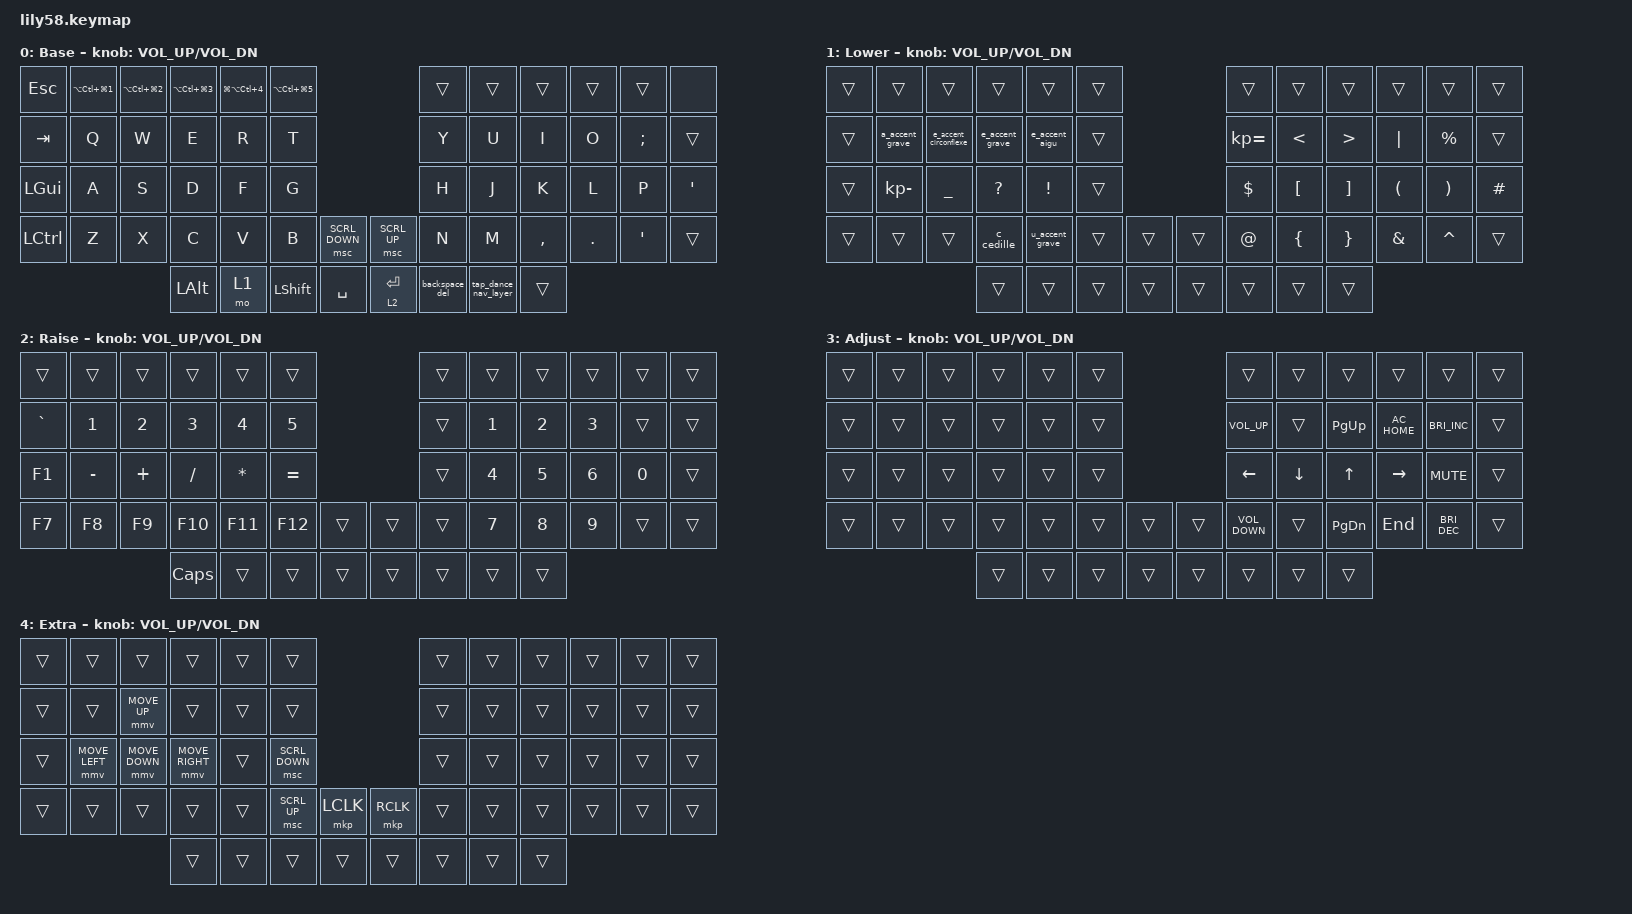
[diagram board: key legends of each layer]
/*
 * Copyright (c) 2020 The ZMK Contributors
 *
 * SPDX-License-Identifier: MIT
 */

#include <behaviors.dtsi>
#include <dt-bindings/zmk/keys.h>
#include <dt-bindings/zmk/pointing.h>

#define default_layer 0
#define lower_layer 1
#define raise_layer 2
#define adjust_layer 3
#define extra_layer 4

/ {
    macros {
        e_accent_aigu: new_macro {
            compatible = "zmk,behavior-macro";
            #binding-cells = <0>;
            bindings = <&kp RIGHT_GUI &kp SQT &kp E>;
            label = "NEW_MACRO";
        };

        e_accent_grave: e_accent_grave {
            compatible = "zmk,behavior-macro";
            #binding-cells = <0>;
            bindings = <&kp RIGHT_GUI &kp GRAVE &kp E>;
            label = "E_ACCENT_GRAVE";
        };

        e_accent_circonflexe: e_accent_circonflexe {
            compatible = "zmk,behavior-macro";
            #binding-cells = <0>;
            bindings = <&kp RIGHT_GUI &kp CARET &kp E>;
            label = "E_ACCENT_CIRCONFLEXE";
        };

        u_accent_grave: u_accent_grave {
            compatible = "zmk,behavior-macro";
            #binding-cells = <0>;
            bindings = <&kp RIGHT_GUI &kp GRAVE &kp U>;
            label = "U_ACCENT_GRAVE";
        };

        c_cedille: c_cedille {
            compatible = "zmk,behavior-macro";
            #binding-cells = <0>;
            bindings = <&kp RIGHT_GUI &kp COMMA &kp C>;
            label = "C_CEDILLE";
        };

        a_accent_grave: a_accent_grave {
            compatible = "zmk,behavior-macro";
            #binding-cells = <0>;
            bindings = <&kp RIGHT_GUI &kp GRAVE &kp A>;
            label = "A_ACCENT_GRAVE";
        };

        ctrl_tab: ctrl_tab {
            compatible = "zmk,behavior-macro";
            #binding-cells = <0>;
            bindings = <&kp LCTRL &kp TAB>;
            label = "CTRL_TAB";
        };

        ctrl_shift_tab: ctrl_shift_tab {
            compatible = "zmk,behavior-macro";
            #binding-cells = <0>;
            bindings = <&kp RCTRL &kp RIGHT_SHIFT &kp TAB>;
            label = "CTRL_SHIFT_TAB";
        };
    };

    behaviors {
        left_hold_tap: left_hold_tap {
            compatible = "zmk,behavior-hold-tap";
            label = "LEFT_HOLD_TAP";
            bindings = <&kp>, <&kp>;

            #binding-cells = <2>;
            flavor = "balanced";
            require-prior-idle-ms = <700>;
            tapping-term-ms = <280>;
            quick-tap-ms = <175>;
            hold-trigger-key-positions = <7 6 6 7 8 9 10 18 19 20 21 22 30 31 32 33 34 43 44 45 46 47 48 54 55 56 57 35 23 11 49>;
            hold-trigger-on-release;
        };

        right_hold_tap: right_hold_tap {
            compatible = "zmk,behavior-hold-tap";
            label = "RIGHT_HOLD_TAP";
            bindings = <&kp>, <&kp>;

            #binding-cells = <2>;
            flavor = "balanced";
            require-prior-idle-ms = <700>;
            tapping-term-ms = <280>;
            quick-tap-ms = <175>;
            hold-trigger-key-positions = <0 1 2 3 4 5 12 13 14 15 16 17 24 25 26 27 28 29 36 37 38 39 40 41 42 50 51 52 53>;
            hold-trigger-on-release;
        };

        tap_dance_nav_layer: tap_dance_nav_layer {
            compatible = "zmk,behavior-tap-dance";
            label = "TAP_DANCE_NAV_LAYER";
            #binding-cells = <0>;
            bindings = <&mo 3>, <&tog 3>;
        };

        jescape: jescape {
            compatible = "zmk,behavior-tap-dance";
            label = "JESCAPE";
            #binding-cells = <0>;
            bindings = <&kp J>, <&kp ESCAPE>;
        };

        backspace_del: backspace_del {
            compatible = "zmk,behavior-mod-morph";
            label = "BACKSPACE_DEL";
            bindings = <&kp BACKSPACE>, <&kp DELETE>;

            #binding-cells = <0>;
            mods = <(MOD_LSFT)>;
        };
    };

    combos {
        compatible = "zmk,combos";

        copy {
            bindings = <&kp K_COPY>;
            key-positions = <39 40>;
            require-prior-idle-ms = <400>;
        };

        paste {
            bindings = <&kp K_PASTE>;
            key-positions = <40 41>;
            require-prior-idle-ms = <400>;
        };

        cut {
            bindings = <&kp K_CUT>;
            key-positions = <41 39>;
            require-prior-idle-ms = <400>;
        };
    };

    keymap {
        compatible = "zmk,keymap";

        default_layer {
            display-name = "Base";

            // ------------------------------------------------------------------------------------------------------------
            // |  ESC  |  1  |  2  |  3   |  4   |  5   |                   |  6   |  7    |  8    |  9   |   0   |   `   |
            // |  TAB  |  Q  |  W  |  E   |  R   |  T   |                   |  Y   |  U    |  I    |  O   |   P   |   -   |
            // |  CTRL |  A  |  S  |  D   |  F   |  G   |                   |  H   |  J    |  K    |  L   |   ;   |   '   |
            // | SHIFT |  Z  |  X  |  C   |  V   |  B   |   "["  |  |  "]"  |  N   |  M    |  ,    |  .   |   /   | SHIFT |
            //                     | ALT  | GUI  | LOWER|  SPACE |  | ENTER | RAISE| BSPC  | GUI   |

            bindings = <
&kp ESCAPE    &kp LA(LC(LG(NUMBER_1)))  &kp LA(LC(LG(NUMBER_2)))  &kp LA(LC(LG(NUMBER_3)))  &kp LG(LA(LC(NUMBER_4)))  &kp LA(LC(LG(NUMBER_5)))                                  &trans          &trans                &trans     &trans   &trans            &none
&kp TAB       &kp Q                     &kp W                     &kp E                     &kp R                     &kp T                                                     &kp Y           &kp U                 &kp I      &kp O    &kp SEMICOLON     &trans
&kp LEFT_GUI  &kp A                     &kp S                     &kp D                     &kp F                     &kp G                                                     &kp H           &kp J                 &kp K      &kp L    &kp P             &kp APOS
&kp LCTRL     &kp Z                     &kp X                     &kp C                     &kp V                     &kp B                     &msc SCRL_DOWN    &msc SCRL_UP  &kp N           &kp M                 &kp COMMA  &kp DOT  &kp SINGLE_QUOTE  &trans
                                                                  &kp LEFT_ALT              &mo 1                     &kp LEFT_SHIFT            &kp SPACE         &lt 2 ENTER   &backspace_del  &tap_dance_nav_layer  &trans
            >;

            sensor-bindings = <&inc_dec_kp C_VOL_UP C_VOL_DN>;
        };

        sym {
            display-name = "Lower";

            // ------------------------------------------------------------------------------------------------------------
            // | BTCLR | BT1 | BT2 |  BT3 |  BT4 |  BT5 |                   |      |       |       |      |       |       |
            // |  F1   |  F2 |  F3 |  F4  |  F5  |  F6  |                   |  F7  |  F8   |  F9   |  F10 |  F11  |  F12  |
            // |   `   |  !  |  @  |  #   |  $   |  %   |                   |  ^   |  &    |  *    |  (   |   )   |   ~   |
            // |       |     |     |      |      |      |        |  |       |      |  _    |  +    |  {   |   }   |  "|"  |
            //                     |      |      |      |        |  |       |      |       |       |

            bindings = <
&trans  &trans           &trans                 &trans           &trans           &trans                    &trans        &trans            &trans             &trans    &trans       &trans
&trans  &a_accent_grave  &e_accent_circonflexe  &e_accent_grave  &e_accent_aigu   &trans                    &kp KP_EQUAL  &kp LESS_THAN     &kp GREATER_THAN   &kp PIPE  &kp PERCENT  &trans
&trans  &kp KP_MINUS     &kp UNDER              &kp QUESTION     &kp EXCL         &trans                    &kp DOLLAR    &kp LEFT_BRACKET  &kp RIGHT_BRACKET  &kp LPAR  &kp RPAR     &kp POUND
&trans  &trans           &trans                 &c_cedille       &u_accent_grave  &trans  &trans    &trans  &kp AT        &kp LEFT_BRACE    &kp RIGHT_BRACE    &kp AMPS  &kp CARET    &trans
                                                &trans           &trans           &trans  &trans    &trans  &trans        &trans            &trans
            >;

            sensor-bindings = <&inc_dec_kp C_VOL_UP C_VOL_DN>;
        };

        num {
            display-name = "Raise";

            // ------------------------------------------------------------------------------------------------------------
            // |       |     |     |      |      |      |                   |      |       |       |      |       |       |
            // |   `   |  1  |  2  |  3   |  4   |  5   |                   |  6   |   7   |   8   |  9   |   0   |       |
            // |   F1  |  F2 |  F3 |  F4  |  F5  |  F6  |                   |      |   <-  |   v   |  ^   |  ->   |       |
            // |   F7  |  F8 |  F9 |  F10 |  F11 |  F12 |        |  |       |  +   |   -   |   =   |  [   |   ]   |   \   |
            //                     |      |      |      |        |  |       |      |       |       |

            bindings = <
&trans     &trans     &trans    &trans        &trans     &trans                       &trans  &trans        &trans        &trans        &trans  &trans
&kp GRAVE  &kp N1     &kp N2    &kp N3        &kp N4     &kp N5                       &trans  &kp NUMBER_1  &kp NUMBER_2  &kp NUMBER_3  &trans  &trans
&kp F1     &kp MINUS  &kp PLUS  &kp SLASH     &kp ASTRK  &kp EQUAL                    &trans  &kp NUMBER_4  &kp N5        &kp NUMBER_6  &kp N0  &trans
&kp F7     &kp F8     &kp F9    &kp F10       &kp F11    &kp F12    &trans    &trans  &trans  &kp N7        &kp N8        &kp N9        &trans  &trans
                                &kp CAPSLOCK  &trans     &trans     &trans    &trans  &trans  &trans        &trans
            >;

            sensor-bindings = <&inc_dec_kp C_VOL_UP C_VOL_DN>;
        };

        nav {
            display-name = "Adjust";

            // ------------------------------------------------------------------------------------------------------------
            // |       |     |     |      |      |      |                   |      |       |       |      |       |       |
            // |   `   |  1  |  2  |  3   |  4   |  5   |                   |  6   |   7   |   8   |  9   |   0   |       |
            // |   F1  |  F2 |  F3 |  F4  |  F5  |  F6  |                   |      |   <-  |   v   |  ^   |  ->   |       |
            // |   F7  |  F8 |  F9 |  F10 |  F11 |  F12 |        |  |       |  +   |   -   |   =   |  [   |   ]   |   \   |
            //                     |      |      |      |        |  |       |      |       |       |

            bindings = <
&trans  &trans  &trans  &trans  &trans  &trans                    &trans             &trans    &trans         &trans         &trans                &trans
&trans  &trans  &trans  &trans  &trans  &trans                    &kp C_VOLUME_UP    &trans    &kp PAGE_UP    &kp C_AC_HOME  &kp C_BRIGHTNESS_INC  &trans
&trans  &trans  &trans  &trans  &trans  &trans                    &kp LEFT_ARROW     &kp DOWN  &kp UP_ARROW   &kp RIGHT      &kp K_MUTE            &trans
&trans  &trans  &trans  &trans  &trans  &trans  &trans    &trans  &kp C_VOLUME_DOWN  &trans    &kp PAGE_DOWN  &kp END        &kp C_BRIGHTNESS_DEC  &trans
                        &trans  &trans  &trans  &trans    &trans  &trans             &trans    &trans
            >;

            sensor-bindings = <&inc_dec_kp C_VOL_UP C_VOL_DN>;
        };

        extra_layer {
            display-name = "Extra";

            // ------------------------------------------------------------------------------------------------------------
            // |       |     |     |      |      |      |                   |      |       |       |      |       |       |
            // |   `   |  1  |  2  |  3   |  4   |  5   |                   |  6   |   7   |   8   |  9   |   0   |       |
            // |   F1  |  F2 |  F3 |  F4  |  F5  |  F6  |                   |      |   <-  |   v   |  ^   |  ->   |       |
            // |   F7  |  F8 |  F9 |  F10 |  F11 |  F12 |        |  |       |  +   |   -   |   =   |  [   |   ]   |   \   |
            //                     |      |      |      |        |  |       |      |       |       |

            bindings = <
&trans  &trans          &trans          &trans           &trans  &trans                                  &trans  &trans  &trans  &trans  &trans  &trans
&trans  &trans          &mmv MOVE_UP    &trans           &trans  &trans                                  &trans  &trans  &trans  &trans  &trans  &trans
&trans  &mmv MOVE_LEFT  &mmv MOVE_DOWN  &mmv MOVE_RIGHT  &trans  &msc SCRL_DOWN                          &trans  &trans  &trans  &trans  &trans  &trans
&trans  &trans          &trans          &trans           &trans  &msc SCRL_UP    &mkp LCLK    &mkp RCLK  &trans  &trans  &trans  &trans  &trans  &trans
                                        &trans           &trans  &trans          &trans       &trans     &trans  &trans  &trans
            >;

            sensor-bindings = <&inc_dec_kp C_VOL_UP C_VOL_DN>;
        };
    };
};
